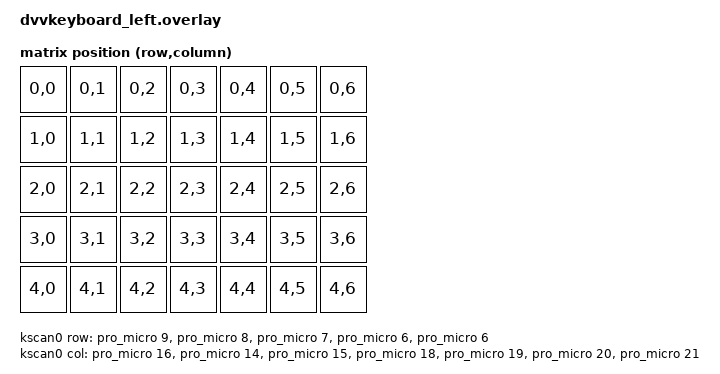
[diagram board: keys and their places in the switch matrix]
#include <dt-bindings/zmk/matrix_transform.h>
&pinctrl {
    i2c1_default: i2c1_default {
        group1 {
            psels = <NRF_PSEL(TWIM_SDA, 0, 20)>, <NRF_PSEL(TWIM_SCL, 0, 17)>;
        };
    };
    i2c1_sleep: i2c1_sleep {
        group1 {
            psels = <NRF_PSEL(TWIM_SDA, 0, 20)>, <NRF_PSEL(TWIM_SCL, 0, 17)>;
            low-power-enable;
        };
    };
};

&i2c1 {
    status = "okay";
    pinctrl-0 = <&i2c1_default>;
    pinctrl-1 = <&i2c1_sleep>;
    pinctrl-names = "default", "sleep";
    clock-frequency = <100000>;

    nice_view_oled: ssd1306@3c {
        compatible = "solomon,ssd1306fb";
        reg = <0x3c>;
        width = <128>;
        height = <32>;
        segment-offset = <30>;
        page-offset = <3>;
        display-offset = <10>;
        multiplex-ratio = <31>;
        segment-remap;
        com-invdir;
        com-sequential;
        prechargep = <0x22>;
    };
};
/ {
    default_oled_layout: display_layout {
        compatible = "zmk,display-layout";  // Обязательно!
        line-0 = "Hello";                  // Первая строка
        line-1 = "ZMK!";                   // Вторая строка
        };
    chosen {
        zmk,kscan = &kscan0;
        zmk,matrix-transform = &default_transform;
        zephyr,display = &nice_view_oled;
        zmk,display-layout = &default_oled_layout;
    };

    kscan0: kscan {
        compatible = "zmk,kscan-gpio-matrix";
        diode-direction = "col2row";

        /* 5 рядов: D5–D9 => P0.24, P1.00, P0.11, P1.04, P1.06 */
        row-gpios = 
            <&pro_micro 9 (GPIO_ACTIVE_HIGH | GPIO_PULL_DOWN)>,  // D5
            <&pro_micro 8 (GPIO_ACTIVE_HIGH | GPIO_PULL_DOWN)>,  // D6
            <&pro_micro 7 (GPIO_ACTIVE_HIGH | GPIO_PULL_DOWN)>,  // D7
            <&pro_micro 6 (GPIO_ACTIVE_HIGH | GPIO_PULL_DOWN)>,  // освободил место под экранчик
            <&pro_micro 6 (GPIO_ACTIVE_HIGH | GPIO_PULL_DOWN)>;  // освободил место под экранчик

        /* 7 столбцов: D10, D16, D14, D15, D18, D19, D20 */
        col-gpios = 
            <&pro_micro 16 GPIO_ACTIVE_HIGH>,  // D16 - столбец 2 (Q)
            <&pro_micro 14 GPIO_ACTIVE_HIGH>,  // D14 - столбец 3 (W)
            <&pro_micro 15 GPIO_ACTIVE_HIGH>,  // D10 - столбец 4 (E)
            <&pro_micro 18 GPIO_ACTIVE_HIGH>,  // D18 - столбец 5 (R)
            <&pro_micro 19 GPIO_ACTIVE_HIGH>,  // D19 - столбец 6 (T)
            <&pro_micro 20 GPIO_ACTIVE_HIGH>,  // D20 - столбец 7 (пустой)
            <&pro_micro 21 GPIO_ACTIVE_HIGH>;  // D21 - столбец 7 (пустой)
    
    };

    default_transform: matrix_transform {
        compatible = "zmk,matrix-transform";
        rows = <5>;
        columns = <7>;
        map = <
            RC(0,0) RC(0,1) RC(0,2) RC(0,3) RC(0,4) RC(0,5) RC(0,6)
            RC(1,0) RC(1,1) RC(1,2) RC(1,3) RC(1,4) RC(1,5) RC(1,6)
            RC(2,0) RC(2,1) RC(2,2) RC(2,3) RC(2,4) RC(2,5) RC(2,6)
            RC(3,0) RC(3,1) RC(3,2) RC(3,3) RC(3,4) RC(3,5) RC(3,6)
            RC(4,0) RC(4,1) RC(4,2) RC(4,3) RC(4,4) RC(4,5) RC(4,6)
        >;
    };
    zmk_config: zmk-config {
        compatible = "zmk,config";
        split-role = "left";  // или "right"
    };
};
// &i2c0 {
//     status = "okay";
//     nice_view_oled: ssd1306@3c {
//         compatible = "solomon,ssd1306fb";
//         reg = <0x3c>;
//         width = <128>;
//         height = <64>;
//         segment-offset = <0>;
//         page-offset = <0>;
//         display-offset = <0>;
//         multiplex-ratio = <31>;
//         prechargep = <0x22>;
//         // reset-gpios = <&gpio0 10 GPIO_ACTIVE_LOW>;
//     };
// }

